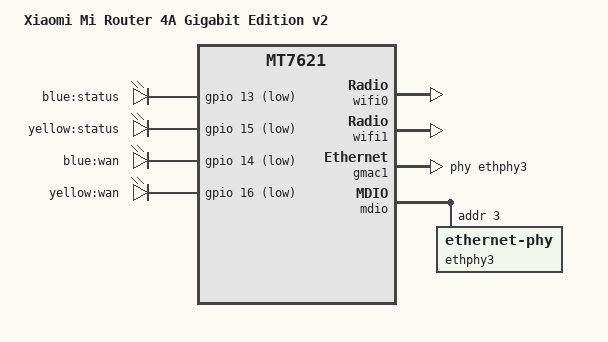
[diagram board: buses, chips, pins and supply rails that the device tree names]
// SPDX-License-Identifier: GPL-2.0-or-later OR MIT

#include "mt7621_xiaomi_mi-router-4a-common.dtsi"

/ {
	compatible = "xiaomi,mi-router-4a-gigabit-v2", "mediatek,mt7621-soc";
	model = "Xiaomi Mi Router 4A Gigabit Edition v2";

	aliases {
		label-mac-device = &gmac1;
	};

	leds {
		compatible = "gpio-leds";

		led_status_blue: status_blue {
			label = "blue:status";
			gpios = <&gpio 13 GPIO_ACTIVE_LOW>;
		};

		led_status_yellow: status_yellow {
			label = "yellow:status";
			gpios = <&gpio 15 GPIO_ACTIVE_LOW>;
		};

		wan_blue {
			label = "blue:wan";
			gpios = <&gpio 14 GPIO_ACTIVE_LOW>;
		};

		wan_yellow {
			label = "yellow:wan";
			gpios = <&gpio 16 GPIO_ACTIVE_LOW>;
		};
	};
};

&partitions {
	partition@180000 {
		// size changed against to the common dtsi
		reg = <0x180000 0xe70000>;
	};

	partition@ff0000 {
		label = "Config";
		reg = <0xff0000 0x10000>;
		read-only;
	};
};

&wifi0 {
	mediatek,mtd-eeprom = <&factory 0x0000>;
	ieee80211-freq-limit = <2400000 2500000>;
};

&wifi1 {
	mediatek,mtd-eeprom = <&factory 0x8000>;
	ieee80211-freq-limit = <5000000 6000000>;
};

&gmac1 {
	status = "okay";
	label = "wan";
	phy-handle = <&ethphy3>;

	mtd-mac-address = <&factory 0xe006>;
};

&mdio {
	ethphy3: ethernet-phy@3 {
		reg = <3>;
	};
};

&switch0 {
	ports {
		port@1 {
			status = "okay";
			label = "lan1";
		};

		port@2 {
			status = "okay";
			label = "lan2";
		};
	};
};
